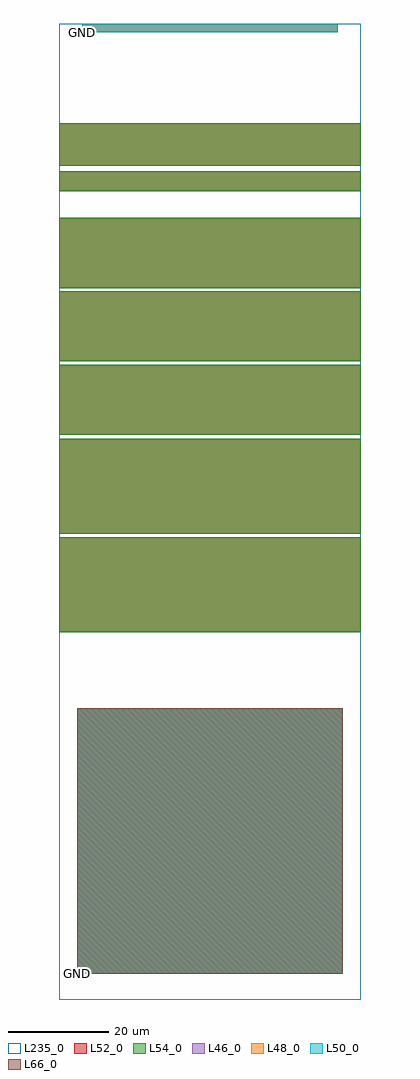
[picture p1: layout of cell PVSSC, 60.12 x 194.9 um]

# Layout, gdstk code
import gdstk
lib = gdstk.Library(unit=1e-6, precision=1e-09)
def R(c, l, rs):  # rectangles x0, y0, x1, y1
    for r in rs: c.add(gdstk.rectangle(r[:2], r[2:], *l))
L46_0 = (46, 0)
L48_0 = (48, 0)
L50_0 = (50, 0)
L52_0 = (52, 0)
L54_0 = (54, 0)
L66_0 = (66, 0)
L235_0 = (235, 0)

pvssc = lib.new_cell('PVSSC')
R(pvssc, L46_0, [(3.56,5.18,56.56,58.18), (4.54,193.14,55.58,194.9)])
R(pvssc, L48_0, [(3.56,5.18,56.56,58.18), (4.54,193.14,55.58,194.9)])
R(pvssc, L50_0, [(3.56,5.18,56.56,58.18), (4.54,193.14,55.58,194.9)])
R(pvssc, L52_0, [(3.56,5.18,56.56,58.18), (0,73.3,60.12,92.3), (0,92.99,60.12,111.99), (0,112.79,60.12,126.79), (0,127.44,60.12,141.44), (0,142.08,60.12,156.08), (0,161.39,60.12,165.39), (0,166.47,60.12,174.97)])
R(pvssc, L54_0, [(3.56,5.18,56.56,58.18), (0,73.3,60.12,92.3), (0,92.99,60.12,111.99), (0,112.79,60.12,126.79), (0,127.44,60.12,141.44), (0,142.08,60.12,156.08), (0,161.39,60.12,165.39), (0,166.47,60.12,174.97)])
R(pvssc, L66_0, [(3.56,5.18,56.56,58.18)])
R(pvssc, L235_0, [(0,0,60.12,194.9)])
pvssc.add(gdstk.Label('GND', (4.54,193.14), layer=101, texttype=0))
pvssc.add(gdstk.Label('GND', (3.56,5.18), layer=101, texttype=0))
pvssc.add(gdstk.Label('GND', (4.54,193.14), layer=102, texttype=0))
pvssc.add(gdstk.Label('GND', (3.56,5.18), layer=102, texttype=0))
pvssc.add(gdstk.Label('GND', (4.54,193.14), layer=103, texttype=0))
pvssc.add(gdstk.Label('GND', (3.56,5.18), layer=103, texttype=0))
pvssc.add(gdstk.Label('GND', (3.56,5.18), layer=104, texttype=0))
pvssc.add(gdstk.Label('GND', (3.56,5.18), layer=105, texttype=0))

lib.write_gds('PVSSC.gds')
